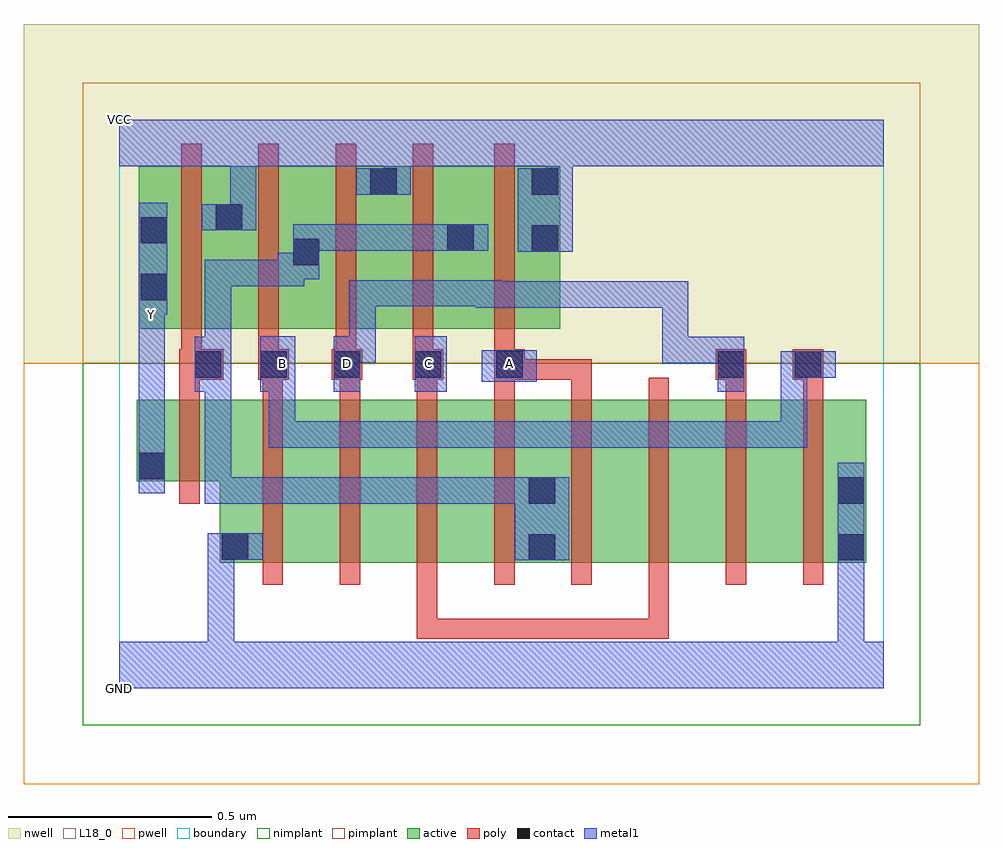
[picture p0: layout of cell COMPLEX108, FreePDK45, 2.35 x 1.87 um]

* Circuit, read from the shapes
.subckt COMPLEX108 A B C D GND VCC Y
M1 GND n1 Y VSUBS nfet w=0.2u l=0.05u
M2 n2 B GND VSUBS nfet w=0.4u l=0.05u
M3 n3 D n2 VSUBS nfet w=0.4u l=0.05u
M4 n4 C n3 VSUBS nfet w=0.4u l=0.05u
M5 n1 A n4 VSUBS nfet w=0.4u l=0.05u
M6 n5 A n1 VSUBS nfet w=0.4u l=0.05u
M7 n6 C n5 VSUBS nfet w=0.4u l=0.05u
M8 n7 D n6 VSUBS nfet w=0.4u l=0.05u
M9 GND B n7 VSUBS nfet w=0.4u l=0.05u
M10 VCC n1 Y n8 pfet w=0.4u l=0.05u
M11 n1 B VCC n8 pfet w=0.4u l=0.05u
M12 VCC D n1 n8 pfet w=0.4u l=0.05u
M13 n1 C VCC n8 pfet w=0.4u l=0.05u
M14 VCC A n1 n8 pfet w=0.4u l=0.05u
.ends

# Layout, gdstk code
import gdstk
lib = gdstk.Library(unit=1e-6, precision=1e-09)
def R(c, l, rs):  # rectangles x0, y0, x1, y1
    for r in rs: c.add(gdstk.rectangle(r[:2], r[2:], *l))
def A(c, l, x, y, w, h, nx, ny, dx, dy):  # array of equal rectangles
    R(c, l, [(x+i*dx, y+j*dy, x+i*dx+w, y+j*dy+h) for i in range(nx) for j in range(ny)])
active = (1, 0)
pwell = (2, 0)
nwell = (3, 0)
nimplant = (4, 0)
pimplant = (5, 0)
poly = (9, 0)
contact = (10, 0)
metal1 = (11, 0)
L18_0 = (18, 0)
boundary = (235, 0)

complex108 = lib.new_cell('COMPLEX108')
A(complex108, active, 0.232, 0.885, 0.265, 0.4, 3, 1, 0.19, 0)
R(complex108, active, [(0.247,0.31,0.472,0.71), (0.247,0.31,0.322,0.532), (0.472,0.31,0.662,0.71), (0.662,0.31,0.852,0.71), (0.852,0.31,1.077,0.71), (1.002,0.31,1.232,0.71), (1.002,0.31,1.077,0.617), (1.232,0.31,1.422,0.71), (1.422,0.31,1.612,0.71), (1.612,0.31,1.837,0.71), (1.762,0.31,1.837,0.71), (0.042,0.51,0.322,0.71), (0.042,0.51,0.117,0.71), (0.047,0.885,0.307,1.285), (0.047,0.885,0.122,1.2), (0.802,0.885,1.085,1.285), (1.01,0.885,1.085,1.285), (0.232,0.907,0.307,1.255), (0.422,0.907,0.497,1.2), (0.612,0.907,0.687,1.285), (0.802,0.907,0.877,1.2)])
R(complex108, pwell, [(-0.235,-0.235,2.115,0.8)])
R(complex108, nwell, [(-0.235,0.8,2.115,1.635)])
R(complex108, nimplant, [(-0.09,-0.09,1.97,0.8)])
R(complex108, pimplant, [(-0.09,0.8,1.97,1.49)])
A(complex108, poly, 0.352, 0.255, 0.05, 0.51, 8, 1, 0.19, 0)
A(complex108, poly, 0.352, 0.715, 0.05, 0.095, 5, 1, 0.19, 0)
A(complex108, poly, 0.522, 0.76, 0.075, 0.075, 3, 1, 0.2, 0)
A(complex108, poly, 0.152, 0.785, 0.05, 0.095, 4, 1, 0.19, 0)
A(complex108, poly, 0.152, 0.83, 0.05, 0.51, 4, 1, 0.19, 0)
R(complex108, poly, [(0.732,0.122,0.782,0.305), (0.732,0.122,0.782,0.172), (0.732,0.122,0.782,0.172), (0.732,0.122,0.782,0.172), (0.732,0.122,0.997,0.172), (0.947,0.122,0.997,0.172), (0.947,0.122,0.997,0.172), (0.947,0.122,0.997,0.172), (0.947,0.122,1.13,0.172), (1.08,0.122,1.13,0.172), (1.08,0.122,1.352,0.172), (1.302,0.122,1.352,0.305), (1.302,0.122,1.352,0.172), (1.302,0.122,1.352,0.172), (1.302,0.122,1.352,0.172), (0.147,0.455,0.197,0.765), (0.147,0.715,0.197,0.81), (1.492,0.715,1.542,0.81), (1.682,0.715,1.732,0.81), (0.147,0.76,0.255,0.835), (0.342,0.76,0.417,0.835), (0.947,0.76,1.162,0.81), (1.112,0.76,1.162,0.81), (1.112,0.76,1.162,0.81), (1.112,0.76,1.162,0.81), (1.467,0.76,1.542,0.835), (1.657,0.76,1.732,0.835), (0.922,0.785,0.972,0.88), (0.922,0.83,0.972,1.34)])
A(complex108, contact, 0.527, 0.765, 0.065, 0.065, 3, 1, 0.2, 0)
R(complex108, contact, [(1.007,0.315,1.072,0.38), (1.767,0.315,1.832,0.38), (0.252,0.317,0.317,0.382), (1.007,0.455,1.072,0.52), (1.767,0.455,1.832,0.52), (0.047,0.515,0.112,0.58), (0.185,0.765,0.25,0.83), (0.347,0.765,0.412,0.83), (1.472,0.765,1.537,0.83), (1.662,0.765,1.727,0.83), (0.052,0.955,0.117,1.02), (0.427,1.042,0.492,1.107), (1.015,1.075,1.08,1.14), (0.807,1.077,0.872,1.142), (0.052,1.095,0.117,1.16), (0.237,1.127,0.302,1.192), (0.617,1.215,0.682,1.28), (1.015,1.215,1.08,1.28)])
R(complex108, metal1, [(0,0,1.88,0.115), (0.217,0.05,0.282,0.382), (1.767,0.05,1.832,0.345), (1.767,0.05,1.832,0.115), (1.767,0.05,1.832,0.115), (1.767,0.05,1.832,0.115), (1.767,0.05,1.832,0.115), (1.767,0.28,1.832,0.555), (0.972,0.315,1.107,0.52), (0.217,0.317,0.282,0.382), (0.217,0.317,0.282,0.382), (0.217,0.317,0.282,0.382), (0.217,0.317,0.282,0.382), (0.217,0.317,0.352,0.382), (0.21,0.455,0.275,0.52), (0.21,0.455,0.455,0.52), (0.21,0.455,0.275,0.865), (0.39,0.455,0.455,0.52), (0.39,0.455,0.455,0.52), (0.39,0.455,0.455,0.52), (0.39,0.455,0.63,0.52), (0.565,0.455,0.63,0.52), (0.565,0.455,0.63,0.52), (0.565,0.455,0.63,0.52), (0.565,0.455,0.805,0.52), (0.74,0.455,0.805,0.52), (0.74,0.455,0.805,0.52), (0.74,0.455,0.805,0.52), (0.74,0.455,0.942,0.52), (0.877,0.455,0.942,0.52), (0.877,0.455,1.037,0.52), (0.047,0.48,0.112,0.615), (0.047,0.55,0.112,0.917), (0.367,0.592,0.432,0.657), (0.367,0.592,0.432,0.795), (0.367,0.592,0.655,0.657), (0.59,0.592,0.655,0.657), (0.59,0.592,0.655,0.657), (0.59,0.592,0.655,0.657), (0.59,0.592,0.805,0.657), (0.74,0.592,0.805,0.657), (0.74,0.592,0.805,0.657), (0.74,0.592,0.805,0.657), (0.74,0.592,0.942,0.657), (0.877,0.592,0.942,0.657), (0.877,0.592,1.08,0.657), (1.015,0.592,1.08,0.657), (1.015,0.592,1.08,0.657), (1.015,0.592,1.08,0.657), (1.015,0.592,1.217,0.657), (1.152,0.592,1.217,0.657), (1.152,0.592,1.37,0.657), (1.305,0.592,1.37,0.657), (1.305,0.592,1.537,0.657), (1.472,0.592,1.537,0.657), (1.472,0.592,1.537,0.657), (1.472,0.592,1.537,0.657), (1.472,0.592,1.692,0.657), (1.627,0.592,1.692,0.657), (1.627,0.592,1.692,0.83), (0.185,0.73,0.25,0.865), (0.347,0.73,0.432,0.867), (0.367,0.73,0.432,0.795), (0.367,0.73,0.432,0.795), (0.527,0.73,0.592,0.867), (0.727,0.73,0.805,0.867), (1.472,0.73,1.537,0.865), (0.892,0.755,1.027,0.832), (1.627,0.765,1.692,0.83), (1.627,0.765,1.692,0.83), (1.627,0.765,1.762,0.83), (0.185,0.8,0.275,0.865), (0.21,0.8,0.275,0.865), (0.21,0.8,0.275,0.865), (0.21,0.8,0.275,0.865), (0.21,0.8,0.275,1.055), (1.335,0.8,1.4,0.865), (1.335,0.8,1.537,0.865), (1.335,0.8,1.4,1.002), (0.527,0.802,0.63,0.867), (0.565,0.802,0.63,0.867), (0.565,0.802,0.63,1.005), (0.047,0.852,0.112,0.987), (0.047,0.92,0.117,1.195), (0.047,0.922,0.112,0.987), (0.877,0.937,0.942,1.002), (0.877,0.937,0.942,1.002), (0.877,0.937,1.232,1.002), (0.877,0.937,0.942,1.005), (1.167,0.937,1.232,1.002), (1.167,0.937,1.232,1.002), (1.167,0.937,1.232,1.002), (1.167,0.937,1.4,1.002), (1.335,0.937,1.4,1.002), (1.335,0.937,1.4,1.002), (1.335,0.937,1.4,1.002), (0.565,0.94,0.63,1.005), (0.565,0.94,0.792,1.005), (0.727,0.94,0.792,1.005), (0.727,0.94,0.792,1.005), (0.727,0.94,0.792,1.005), (0.727,0.94,0.942,1.005), (0.21,0.99,0.275,1.055), (0.21,0.99,0.455,1.055), (0.39,0.99,0.455,1.072), (0.39,1.007,0.492,1.072), (0.427,1.007,0.492,1.142), (0.98,1.075,1.115,1.28), (0.427,1.077,0.492,1.142), (0.427,1.077,0.492,1.142), (0.427,1.077,0.655,1.142), (0.59,1.077,0.655,1.142), (0.59,1.077,0.655,1.142), (0.59,1.077,0.655,1.142), (0.59,1.077,0.805,1.142), (0.74,1.077,0.805,1.142), (0.74,1.077,0.837,1.142), (0.772,1.077,0.907,1.142), (0.202,1.127,0.337,1.192), (0.272,1.127,0.337,1.35), (0.582,1.215,0.717,1.28), (0.652,1.215,0.717,1.35), (1.05,1.215,1.115,1.35), (0,1.285,1.88,1.4)])
A(complex108, L18_0, 0.527, 0.767, 0.065, 0.065, 3, 1, 0.2, 0)
R(complex108, L18_0, [(0,0,1.88,0.115), (0.217,0.05,0.282,0.382), (1.767,0.05,1.832,0.115), (1.767,0.05,1.832,0.115), (1.767,0.05,1.832,0.115), (1.767,0.05,1.832,0.115), (1.767,0.05,1.832,0.345), (1.767,0.28,1.832,0.555), (0.217,0.317,0.282,0.382), (0.217,0.317,0.282,0.382), (0.217,0.317,0.282,0.382), (0.217,0.317,0.282,0.382), (0.217,0.317,0.352,0.382), (0.047,0.48,0.112,0.615), (0.047,0.55,0.112,0.917), (0.367,0.592,0.432,0.657), (0.367,0.592,0.432,0.795), (0.367,0.592,0.655,0.657), (0.59,0.592,0.655,0.657), (0.59,0.592,0.655,0.657), (0.59,0.592,0.655,0.657), (0.59,0.592,0.805,0.657), (0.74,0.592,0.805,0.657), (0.74,0.592,0.805,0.657), (0.74,0.592,0.805,0.657), (0.74,0.592,0.942,0.657), (0.877,0.592,0.942,0.657), (0.877,0.592,1.08,0.657), (1.015,0.592,1.08,0.657), (1.015,0.592,1.08,0.657), (1.015,0.592,1.08,0.657), (1.015,0.592,1.217,0.657), (1.152,0.592,1.217,0.657), (1.152,0.592,1.37,0.657), (1.305,0.592,1.37,0.657), (1.305,0.592,1.537,0.657), (1.472,0.592,1.537,0.657), (1.472,0.592,1.537,0.657), (1.472,0.592,1.537,0.657), (1.472,0.592,1.692,0.657), (1.627,0.592,1.692,0.657), (1.627,0.592,1.692,0.83), (0.347,0.73,0.432,0.867), (0.367,0.73,0.432,0.795), (0.367,0.73,0.432,0.795), (0.527,0.73,0.592,0.867), (0.727,0.73,0.805,0.867), (1.472,0.73,1.537,0.865), (0.892,0.755,1.027,0.832), (1.627,0.765,1.692,0.83), (1.627,0.765,1.692,0.83), (1.627,0.765,1.762,0.83), (0.367,0.767,0.432,0.832), (1.335,0.8,1.4,0.865), (1.335,0.8,1.537,0.865), (1.335,0.8,1.4,1.002), (0.527,0.802,0.63,0.867), (0.565,0.802,0.63,0.867), (0.565,0.802,0.63,1.005), (0.047,0.852,0.112,0.987), (0.047,0.887,0.112,0.952), (0.047,0.92,0.117,1.195), (0.047,0.922,0.112,0.987), (0.877,0.937,0.942,1.002), (0.877,0.937,0.942,1.002), (0.877,0.937,0.942,1.005), (0.877,0.937,1.232,1.002), (1.167,0.937,1.232,1.002), (1.167,0.937,1.232,1.002), (1.167,0.937,1.232,1.002), (1.167,0.937,1.4,1.002), (1.335,0.937,1.4,1.002), (1.335,0.937,1.4,1.002), (1.335,0.937,1.4,1.002), (0.565,0.94,0.63,1.005), (0.565,0.94,0.792,1.005), (0.727,0.94,0.792,1.005), (0.727,0.94,0.792,1.005), (0.727,0.94,0.792,1.005), (0.727,0.94,0.942,1.005), (0.98,1.075,1.115,1.28), (0.202,1.127,0.337,1.192), (0.272,1.127,0.337,1.35), (0.582,1.215,0.717,1.28), (0.652,1.215,0.717,1.35), (1.05,1.215,1.115,1.35), (0,1.285,1.88,1.4)])
R(complex108, boundary, [(0,0,1.88,1.4)])
complex108.add(gdstk.Label('A', (0.96,0.8), layer=11, texttype=0))
complex108.add(gdstk.Label('B', (0.4,0.8), layer=11, texttype=0))
complex108.add(gdstk.Label('C', (0.76,0.8), layer=11, texttype=0))
complex108.add(gdstk.Label('D', (0.56,0.8), layer=11, texttype=0))
complex108.add(gdstk.Label('Y', (0.08,0.92), layer=11, texttype=0))
complex108.add(gdstk.Label('VCC', (0,1.4), layer=11, texttype=0))
complex108.add(gdstk.Label('GND', (0,0), layer=11, texttype=0))

lib.write_gds('COMPLEX108.gds')
